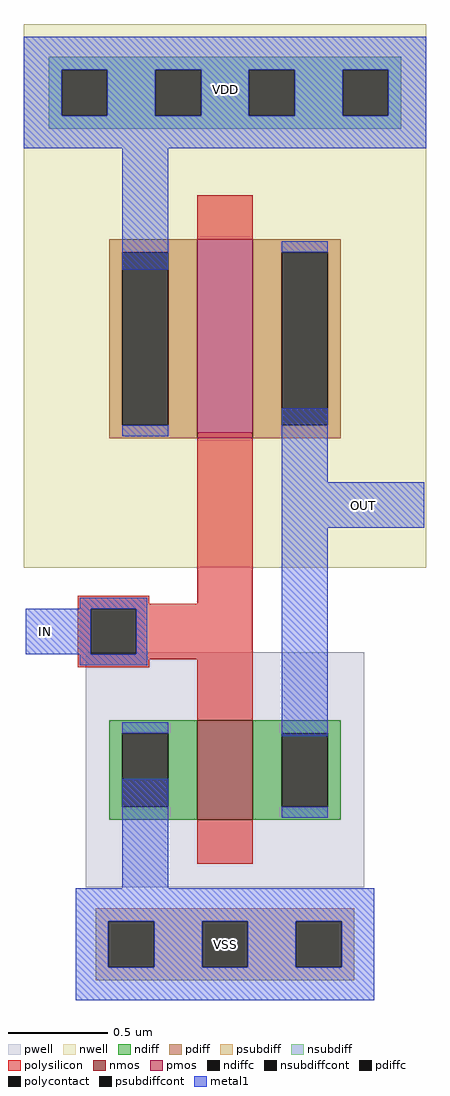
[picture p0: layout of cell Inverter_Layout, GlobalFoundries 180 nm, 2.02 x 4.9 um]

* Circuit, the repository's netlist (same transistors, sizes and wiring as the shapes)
* NGSPICE file created from Inverter_Layout.ext - technology: gf180mcuC

.subckt nmos_3p3_GGGST2 a_n28_n94# a_n116_n50# a_28_n50# VSUBS
X0 a_28_n50# a_n28_n94# a_n116_n50# VSUBS nfet_03v3 ad=0.22p pd=1.88u as=0.22p ps=1.88u w=0.5u l=0.28u
.ends

.subckt pmos_3p3_MNVUAR w_n202_n230# a_28_n100# a_n28_n144# a_n116_n100#
X0 a_28_n100# a_n28_n144# a_n116_n100# w_n202_n230# pfet_03v3 ad=0.44p pd=2.88u as=0.44p ps=2.88u w=1u l=0.28u
.ends

.subckt Inverter_Layout IN OUT VSS VDD
Xnmos_3p3_GGGST2_0 IN VSS OUT VSS nmos_3p3_GGGST2
Xpmos_3p3_MNVUAR_0 VDD OUT IN VDD pmos_3p3_MNVUAR
.ends

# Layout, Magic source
magic
tech gf180mcuC
magscale 1 10
<< nwell >>
rect -62 731 342 856
<< psubdiff >>
rect 10 -45 270 -32
rect 10 -91 23 -45
rect 69 -91 117 -45
rect 163 -91 211 -45
rect 257 -91 270 -45
rect 10 -104 270 -91
<< nsubdiff >>
rect -37 810 317 823
rect -37 764 -24 810
rect 22 764 70 810
rect 116 764 164 810
rect 210 764 258 810
rect 304 764 317 810
rect -37 751 317 764
<< psubdiffcont >>
rect 23 -91 69 -45
rect 117 -91 163 -45
rect 211 -91 257 -45
<< nsubdiffcont >>
rect -24 764 22 810
rect 70 764 116 810
rect 164 764 210 810
rect 258 764 304 810
<< polysilicon >>
rect -8 274 64 282
rect 112 274 168 446
rect -8 269 168 274
rect -8 223 5 269
rect 51 223 168 269
rect -8 218 168 223
rect -8 210 64 218
rect 112 173 168 218
<< polycontact >>
rect 5 223 51 269
<< metal1 >>
rect -62 810 342 843
rect -62 764 -24 810
rect 22 764 70 810
rect 116 764 164 810
rect 210 764 258 810
rect 304 764 342 810
rect -62 731 342 764
rect 37 609 83 731
rect 197 396 243 470
rect 197 350 340 396
rect -6 269 62 280
rect -60 223 5 269
rect 51 223 62 269
rect -6 212 62 223
rect 197 141 243 350
rect 37 -12 83 98
rect -10 -45 290 -12
rect -10 -91 23 -45
rect 69 -91 117 -45
rect 163 -91 211 -45
rect 257 -91 290 -45
rect -10 -124 290 -91
use nfet_03v3_NULYT4  nfet_03v3_NULYT4_0
transform 1 0 140 0 1 107
box -140 -118 140 118
use pmos_3p3_MNVUAR  pmos_3p3_MNVUAR_0 ~/GF180Projects/Tapeout/Magic/Logic_Gates/AND_2_Input
transform 1 0 140 0 1 540
box -202 -230 202 230
<< labels >>
flabel psubdiffcont 140 -68 140 -68 0 FreeSans 320 0 0 0 VSS
port 7 nsew
flabel metal1 140 790 140 790 0 FreeSans 320 0 0 0 VDD
port 9 nsew
flabel metal1 -40 246 -40 246 0 FreeSans 320 0 0 0 IN
port 4 nsew
flabel metal1 279 373 279 373 0 FreeSans 320 0 0 0 OUT
port 6 nsew
<< end >>

# cell nfet_03v3_NULYT4: kit device nfet_03v3, w 0.5 l 0.280 m 1 nf 1 diffcov 100 polycov 100 guard 0 glc 0 grc 0 gtc 0 gbc 0 tbcov 100 rlcov 100 topc 0 botc 0 poverlap 0 doverlap 1 lmin 0.28 wmin 0.22 full_metal 0 compatible {nfet_03v3 nfet_06v0 nfet_06v0_nvt}

# cell pmos_3p3_MNVUAR: kit device pmos_3p3, w 1 l 0.280 m 1 nf 1 diffcov 100 polycov 100 guard 0 glc 0 grc 0 gtc 0 gbc 0 tbcov 100 rlcov 100 topc 0 botc 0 poverlap 0 doverlap 1 lmin 0.28 wmin 0.22 full_metal 0 compatible {pmos_3p3 pmos_6p0}
